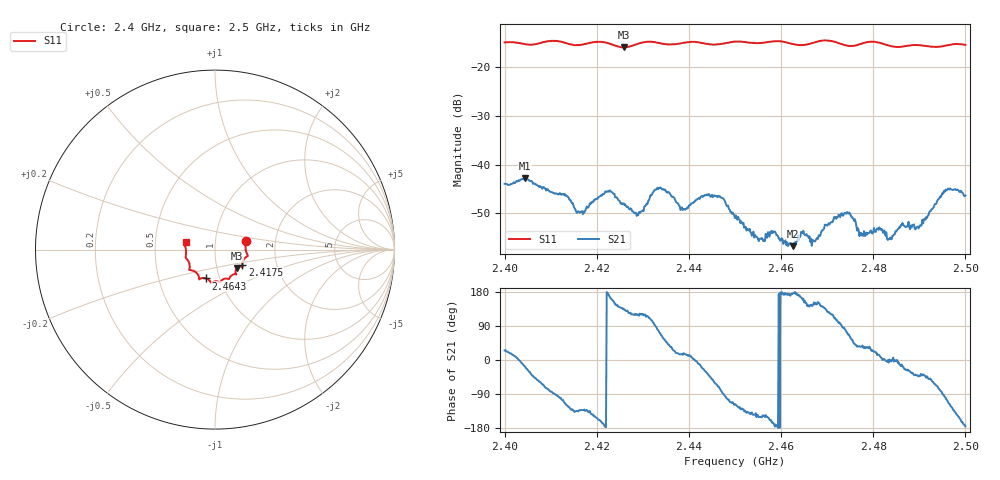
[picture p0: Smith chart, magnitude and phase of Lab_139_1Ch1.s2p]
# Hz S RI R 50
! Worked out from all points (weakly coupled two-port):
!   601 points, 2.4 GHz to 2.5 GHz, reference 50 ohm
!   highest |S21| = -42.74 dB at 2.4043 GHz (marker M1); lowest = -56.7 dB at 2.4625 GHz (marker M2)
!   lowest |S11| = -15.9 dB at 2.4258 GHz (marker M3), VSWR 1.38, Z = 62.3 - j13.2 ohm
!   |S11| at or under -10 dB: start of sweep to end of sweep
!   S12 and S22 are empty: the file has one direction only
!   S11 on the Smith chart (normalised r, x): 2.4 GHz: 1.41, +0.14; 2.4175 GHz: 1.34, -0.23; 2.4643 GHz: 0.86, -0.29; 2.5 GHz: 0.72, +0.06
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2.4e9  0.173 0.0488  0.00575 0.00273  0 0  0 0
2.404333e9  0.1714 0.0216  0.00702 -0.00201  0 0  0 0
2.416667e9  0.1529 -0.0741  -0.00221 -0.00245  0 0  0 0
2.4175e9  0.152 -0.0836  -0.00238 -0.00242  0 0  0 0
2.422333e9  0.15 -0.0947  -0.00529 0.000282  0 0  0 0
2.425833e9  0.1218 -0.1034  -0.00285 0.00281  0 0  0 0
2.429167e9  0.1156 -0.1321  -0.00149 0.00292  0 0  0 0
2.433333e9  0.1133 -0.1372  0.00112 0.0055  0 0  0 0
2.438667e9  0.0807 -0.1581  0.00333 0.000809  0 0  0 0
2.446833e9  0.0418 -0.1678  0.000951 -0.00459  0 0  0 0
2.45e9  0.029 -0.181  -0.00127 -0.00254  0 0  0 0
2.454667e9  0.00487 -0.1765  -0.00159 -0.000886  0 0  0 0
2.458167e9  -0.0196 -0.183  -0.00192 -0.000528  0 0  0 0
2.4625e9  -0.033 -0.17  -0.00145 0.000137  0 0  0 0
2.464333e9  -0.0498 -0.1609  -0.00197 0.00052  0 0  0 0
2.466667e9  -0.0759 -0.1593  -0.00117 0.000893  0 0  0 0
2.474333e9  -0.1001 -0.1328  0.00108 0.00308  0 0  0 0
2.477333e9  -0.1296 -0.1157  0.00164 0.00115  0 0  0 0
2.483333e9  -0.1408 -0.0901  0.00171 -0.000204  0 0  0 0
2.49e9  -0.1635 -0.0403  0.00173 -0.00155  0 0  0 0
2.495833e9  -0.1662 0.0181  -0.00128 -0.00527  0 0  0 0
2.5e9  -0.164 0.043  -0.00481 -0.000382  0 0  0 0
